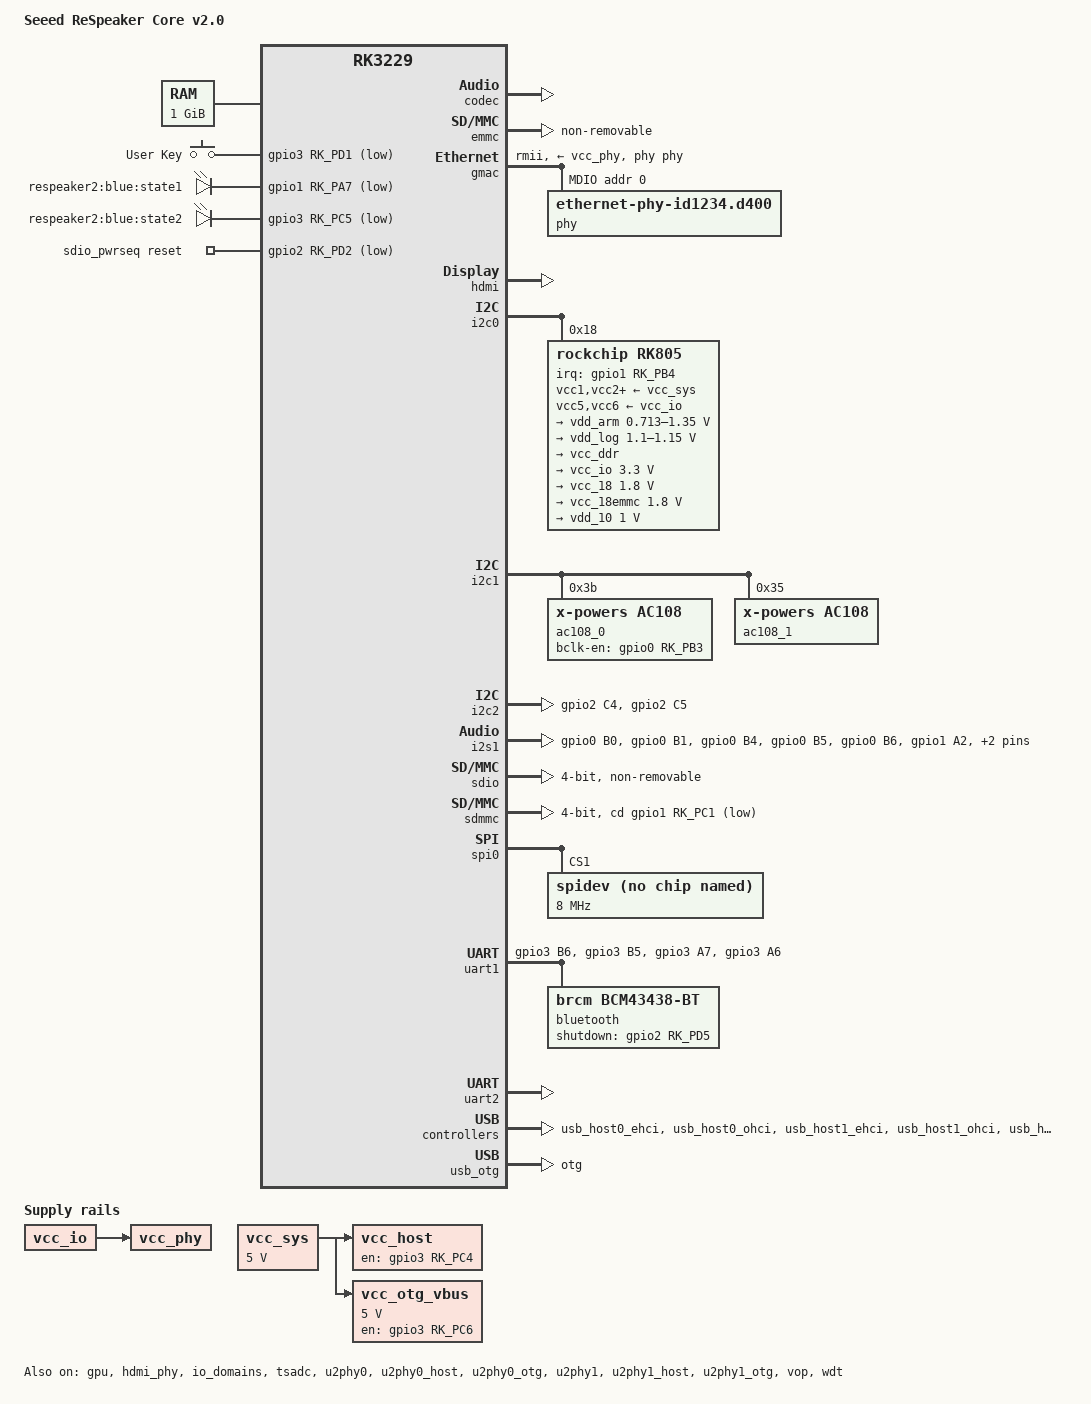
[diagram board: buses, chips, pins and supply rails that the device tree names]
// SPDX-License-Identifier: (GPL-2.0+ OR MIT)
/*
 * Seeed ReSpeaker Core v2.0
 *
 * Rewritten for mainline from the vendor (Rockchip 4.4 kernel) device tree.
 * Used by both U-Boot and Linux.
 */

/dts-v1/;

#include <dt-bindings/gpio/gpio.h>
#include <dt-bindings/input/input.h>
#include <dt-bindings/interrupt-controller/irq.h>
#include <dt-bindings/pinctrl/rockchip.h>
#include "rk3229.dtsi"

/* Added to the clock bindings by the RK3228 codec kernel patch */
#ifndef PCLK_ACODECPHY
#define PCLK_ACODECPHY		368
#endif

/ {
	model = "Seeed ReSpeaker Core v2.0";
	compatible = "seeed,respeaker-core-v2", "rockchip,rk3229";

	aliases {
		/* fixed numbering: eMMC is always mmcblk0, the SD card mmcblk1 */
		mmc0 = &emmc;
		mmc1 = &sdmmc;
		mmc2 = &sdio;
		ethernet0 = &gmac;
		/* fixed bus numbers; the HDMI DDC bus gets the next free one */
		i2c0 = &i2c0;	/* PMIC */
		i2c1 = &i2c1;	/* AC108s */
		i2c2 = &i2c2;	/* Grove port: /dev/i2c-2 */
	};

	chosen {
		stdout-path = "serial2:115200n8";
	};

	memory@60000000 {
		device_type = "memory";
		reg = <0x60000000 0x40000000>;
	};

	reserved-memory {
		#address-cells = <1>;
		#size-cells = <1>;
		ranges;

		/*
		 * Secure world: OP-TEE uses 0x68400000-0x686fffff; the factory
		 * Rockchip TEE (when booted by the original eMMC loader) up to
		 * 0x691fffff.
		 */
		tee@68400000 {
			reg = <0x68400000 0xe00000>;
			no-map;
		};
	};

	/* Internal codec: stereo DAC for the headphone jack and speaker */
	codec: codec@12010000 {
		compatible = "rockchip,rk3228-codec";
		reg = <0x12010000 0x1000>;
		clocks = <&cru SCLK_I2S_OUT>, <&cru PCLK_ACODECPHY>, <&cru SCLK_I2S1>;
		clock-names = "mclk", "pclk", "sclk";
		#sound-dai-cells = <0>;
		spk-en-gpios = <&gpio1 RK_PA3 GPIO_ACTIVE_HIGH>;
	};

	gpio-keys {
		compatible = "gpio-keys";
		pinctrl-names = "default";
		pinctrl-0 = <&user_key>;

		key-user {
			label = "User Key";
			gpios = <&gpio3 RK_PD1 GPIO_ACTIVE_LOW>;
			linux,code = <BTN_0>;
			debounce-interval = <100>;
			wakeup-source;
		};
	};

	leds {
		compatible = "gpio-leds";
		pinctrl-names = "default";
		pinctrl-0 = <&led_pins>;

		led-0 {
			label = "respeaker2:blue:state1";
			gpios = <&gpio1 RK_PA7 GPIO_ACTIVE_LOW>;
			linux,default-trigger = "heartbeat";
		};

		led-1 {
			label = "respeaker2:blue:state2";
			gpios = <&gpio3 RK_PC5 GPIO_ACTIVE_LOW>;
			linux,default-trigger = "mmc0";
		};
	};

	/*
	 * Same layout as the vendor image, card id "seeed8micvoicec":
	 *   hw:0,0  capture, 8 channels: 6 microphones + 2 playback loopback
	 *   hw:0,1  playback, stereo, headphone jack and speaker
	 * Both links share I2S1, so both directions run at the same rate.
	 */
	sound {
		compatible = "simple-audio-card";
		simple-audio-card,name = "seeed-8mic-voicecard";
		simple-audio-card,mclk-fs = <256>;
		#address-cells = <1>;
		#size-cells = <0>;

		simple-audio-card,dai-link@0 {
			reg = <0>;
			format = "i2s";
			capture-only;

			cpu {
				sound-dai = <&i2s1>;
			};

			/* ac108_0 also drives ac108_1, see below */
			codec {
				sound-dai = <&ac108_0>;
			};
		};

		simple-audio-card,dai-link@1 {
			reg = <1>;
			format = "i2s";
			playback-only;

			cpu {
				sound-dai = <&i2s1>;
			};

			codec {
				sound-dai = <&codec>;
			};
		};
	};

	sdio_pwrseq: sdio-pwrseq {
		compatible = "mmc-pwrseq-simple";
		clocks = <&rk805 1>;
		clock-names = "ext_clock";
		pinctrl-names = "default";
		pinctrl-0 = <&wifi_enable_h>;
		reset-gpios = <&gpio2 RK_PD2 GPIO_ACTIVE_LOW>;
	};

	vcc_sys: regulator-vcc-sys {
		compatible = "regulator-fixed";
		regulator-name = "vcc_sys";
		regulator-always-on;
		regulator-boot-on;
		regulator-min-microvolt = <5000000>;
		regulator-max-microvolt = <5000000>;
	};

	vcc_host: regulator-vcc-host {
		compatible = "regulator-fixed";
		regulator-name = "vcc_host";
		enable-active-high;
		gpio = <&gpio3 RK_PC4 GPIO_ACTIVE_HIGH>;
		pinctrl-names = "default";
		pinctrl-0 = <&host_vbus_drv>;
		regulator-always-on;
		regulator-boot-on;
		vin-supply = <&vcc_sys>;
	};

	vcc_otg_vbus: regulator-vcc-otg-vbus {
		compatible = "regulator-fixed";
		regulator-name = "vcc_otg_vbus";
		enable-active-high;
		gpio = <&gpio3 RK_PC6 GPIO_ACTIVE_HIGH>;
		pinctrl-names = "default";
		pinctrl-0 = <&otg_vbus_drv>;
		regulator-min-microvolt = <5000000>;
		regulator-max-microvolt = <5000000>;
		vin-supply = <&vcc_sys>;
	};

	vcc_phy: regulator-vcc-phy {
		compatible = "regulator-fixed";
		regulator-name = "vcc_phy";
		regulator-always-on;
		regulator-boot-on;
		vin-supply = <&vcc_io>;
	};
};

/*
 * rk3229.dtsi goes up to 1.464 GHz at 1.40 V. The vendor firmware never
 * exceeds 1.35 V and Armbian stops at 1.2 GHz on RK322x; the higher points
 * cause random crashes, so they are removed.
 */
&cpu0_opp_table {
	/delete-node/ opp-1296000000;
	/delete-node/ opp-1392000000;
	/delete-node/ opp-1464000000;
};

/*
 * With the 3 highest points removed, cpufreq has 5 cooling states (0-4).
 * rk322x.dtsi limits the 70 C trip to state 6 (600 MHz in its 8-point
 * table), which no longer exists and fails the binding; 600 MHz is state 3.
 */
&cpu_thermal {
	cooling-maps {
		map0 {
			cooling-device =
				<&cpu0 THERMAL_NO_LIMIT 3>,
				<&cpu1 THERMAL_NO_LIMIT 3>,
				<&cpu2 THERMAL_NO_LIMIT 3>,
				<&cpu3 THERMAL_NO_LIMIT 3>;
		};
	};
};

&cpu0 {
	cpu-supply = <&vdd_arm>;
};

&cpu1 {
	cpu-supply = <&vdd_arm>;
};

&cpu2 {
	cpu-supply = <&vdd_arm>;
};

&cpu3 {
	cpu-supply = <&vdd_arm>;
};

&emmc {
	cap-mmc-highspeed;
	non-removable;
	disable-wp;
	status = "okay";
};

&gmac {
	assigned-clocks = <&cru SCLK_MAC_SRC>;
	assigned-clock-rates = <50000000>;
	clock_in_out = "output";
	phy-handle = <&phy>;
	phy-mode = "rmii";
	phy-supply = <&vcc_phy>;
	status = "okay";

	mdio {
		compatible = "snps,dwmac-mdio";
		#address-cells = <1>;
		#size-cells = <0>;

		phy: ethernet-phy@0 {
			compatible = "ethernet-phy-id1234.d400",
				     "ethernet-phy-ieee802.3-c22";
			reg = <0>;
			clocks = <&cru SCLK_MAC_PHY>;
			phy-is-integrated;
			resets = <&cru SRST_MACPHY>;
		};
	};
};

&gpu {
	mali-supply = <&vdd_log>;
	status = "okay";
};

/*
 * The HDMI controller (with its HDCP engine) sits behind the VIO bus
 * (pclk_hdmi_ctrl comes from hclk_vio_pre, the VIO domain holds the HDCP
 * clocks), but rk322x.dtsi doesn't say so. Linux then idles VIO at boot
 * and the first HDMI register read stalls the bus forever. RK3288 has the
 * same layout and its HDMI node is in PD_VIO.
 */
&hdmi {
	power-domains = <&power RK3228_PD_VIO>;
	status = "okay";
};

&hdmi_phy {
	status = "okay";
};

&i2c0 {
	status = "okay";

	rk805: pmic@18 {
		compatible = "rockchip,rk805";
		reg = <0x18>;
		interrupt-parent = <&gpio1>;
		interrupts = <RK_PB4 IRQ_TYPE_LEVEL_LOW>;
		pinctrl-names = "default";
		pinctrl-0 = <&pmic_int_l>;
		#clock-cells = <1>;
		clock-output-names = "xin32k", "rk805-clkout2";
		system-power-controller;
		wakeup-source;

		vcc1-supply = <&vcc_sys>;
		vcc2-supply = <&vcc_sys>;
		vcc3-supply = <&vcc_sys>;
		vcc4-supply = <&vcc_sys>;
		vcc5-supply = <&vcc_io>;
		vcc6-supply = <&vcc_io>;

		regulators {
			vdd_arm: DCDC_REG1 {
				regulator-name = "vdd_arm";
				/* forced PWM, as the vendor kernel: steadier under load steps */
				regulator-initial-mode = <1>;
				regulator-min-microvolt = <712500>;
				regulator-max-microvolt = <1350000>;
				regulator-ramp-delay = <12500>;
				regulator-always-on;
				regulator-boot-on;
				regulator-state-mem {
					regulator-on-in-suspend;
					regulator-suspend-microvolt = <950000>;
				};
			};

			/*
			 * Also supplies the DRAM controller: the vendor runs
			 * DDR3 at 600 MHz with at least 1.10 V here.
			 */
			vdd_log: DCDC_REG2 {
				regulator-name = "vdd_log";
				/* forced PWM, as the vendor kernel: steadier under load steps */
				regulator-initial-mode = <1>;
				regulator-min-microvolt = <1100000>;
				regulator-max-microvolt = <1150000>;
				regulator-ramp-delay = <12500>;
				regulator-always-on;
				regulator-boot-on;
				regulator-state-mem {
					regulator-on-in-suspend;
					regulator-suspend-microvolt = <1000000>;
				};
			};

			vcc_ddr: DCDC_REG3 {
				regulator-name = "vcc_ddr";
				regulator-always-on;
				regulator-boot-on;
				regulator-state-mem {
					regulator-on-in-suspend;
				};
			};

			vcc_io: DCDC_REG4 {
				regulator-name = "vcc_io";
				regulator-min-microvolt = <3300000>;
				regulator-max-microvolt = <3300000>;
				regulator-always-on;
				regulator-boot-on;
				regulator-state-mem {
					regulator-on-in-suspend;
					regulator-suspend-microvolt = <3300000>;
				};
			};

			vcc_18: LDO_REG1 {
				regulator-name = "vcc_18";
				regulator-min-microvolt = <1800000>;
				regulator-max-microvolt = <1800000>;
				regulator-always-on;
				regulator-boot-on;
				regulator-state-mem {
					regulator-on-in-suspend;
					regulator-suspend-microvolt = <1800000>;
				};
			};

			vcc_18emmc: LDO_REG2 {
				regulator-name = "vcc_18emmc";
				regulator-min-microvolt = <1800000>;
				regulator-max-microvolt = <1800000>;
				regulator-always-on;
				regulator-boot-on;
				regulator-state-mem {
					regulator-on-in-suspend;
					regulator-suspend-microvolt = <1800000>;
				};
			};

			vdd_10: LDO_REG3 {
				regulator-name = "vdd_10";
				regulator-min-microvolt = <1000000>;
				regulator-max-microvolt = <1000000>;
				regulator-always-on;
				regulator-boot-on;
				regulator-state-mem {
					regulator-on-in-suspend;
					regulator-suspend-microvolt = <1000000>;
				};
			};
		};
	};
};

/*
 * Two AC108 quad ADCs. Each sends two stereo I2S lanes, received on
 * I2S1 SDI0-SDI3: 8 channels. simple-audio-card has one codec per link, so
 * ac108_0 is the codec and drives ac108_1 too (x-powers,secondary-chips).
 */
&i2c1 {
	status = "okay";

	ac108_0: audio-codec@3b {
		compatible = "x-powers,ac108";
		reg = <0x3b>;
		#sound-dai-cells = <0>;
		/* Gates BCLK to the ADCs, raised while capturing */
		bclk-en-gpios = <&gpio0 RK_PB3 GPIO_ACTIVE_HIGH>;
		x-powers,secondary-chips = <&ac108_1>;
	};

	ac108_1: audio-codec@35 {
		compatible = "x-powers,ac108";
		reg = <0x35>;
		x-powers,channel-base = <4>;
	};
};

/*
 * Grove connector (GPIO2_C4/C5). The board has no pull-ups on it (Grove
 * modules bring their own): enable the SoC's weak internal ones, so that the
 * bus idles high with nothing plugged in.
 */
&i2c2 {
	pinctrl-names = "default";
	pinctrl-0 = <&i2c2_xfer_pull_up>;
	status = "okay";
};

&i2s1 {
	#sound-dai-cells = <0>;
	/* GPIO0_B3 (LRCK_RX in the default group) is the AC108 BCLK gate here */
	pinctrl-names = "default";
	pinctrl-0 = <&i2s1_bus_respeaker>;
	rockchip,playback-channels = <2>;
	rockchip,capture-channels = <8>;
	status = "okay";
};

&io_domains {
	vccio1-supply = <&vcc_io>;
	vccio2-supply = <&vcc_io>;
	vccio4-supply = <&vcc_io>;
	status = "okay";
};

&iep_mmu {
	status = "okay";
};

&gpio2 {
	/* Power switch of the 12 RGB LEDs, active low */
	gpio-line-names = "", "", "LED_PWR_N";
};

&pinctrl {
	bt {
		uart11_xfer: uart11-xfer {
			rockchip,pins = <3 RK_PB6 1 &pcfg_pull_up>,
					<3 RK_PB5 1 &pcfg_pull_none>;
		};

		uart11_cts: uart11-cts {
			rockchip,pins = <3 RK_PA7 1 &pcfg_pull_none>;
		};

		uart11_rts: uart11-rts {
			rockchip,pins = <3 RK_PA6 1 &pcfg_pull_none>;
		};
	};

	i2c2 {
		i2c2_xfer_pull_up: i2c2-xfer-pull-up {
			rockchip,pins = <2 RK_PC4 1 &pcfg_pull_up>,
					<2 RK_PC5 1 &pcfg_pull_up>;
		};
	};

	i2s1 {
		i2s1_bus_respeaker: i2s1-bus-respeaker {
			rockchip,pins = <0 RK_PB0 1 &pcfg_pull_none>,
					<0 RK_PB1 1 &pcfg_pull_none>,
					<0 RK_PB4 1 &pcfg_pull_none>,
					<0 RK_PB5 1 &pcfg_pull_none>,
					<0 RK_PB6 1 &pcfg_pull_none>,
					<1 RK_PA2 2 &pcfg_pull_none>,
					<1 RK_PA4 2 &pcfg_pull_none>,
					<1 RK_PA5 2 &pcfg_pull_none>;
		};
	};

	keys {
		user_key: user-key {
			rockchip,pins = <3 RK_PD1 RK_FUNC_GPIO &pcfg_pull_up>;
		};
	};

	leds {
		led_pins: led-pins {
			rockchip,pins = <1 RK_PA7 RK_FUNC_GPIO &pcfg_pull_none>,
					<3 RK_PC5 RK_FUNC_GPIO &pcfg_pull_none>;
		};
	};

	pmic {
		pmic_int_l: pmic-int-l {
			rockchip,pins = <1 RK_PB4 RK_FUNC_GPIO &pcfg_pull_up>;
		};
	};

	sdio-pwrseq {
		wifi_enable_h: wifi-enable-h {
			rockchip,pins = <2 RK_PD2 RK_FUNC_GPIO &pcfg_pull_none>;
		};
	};

	usb {
		host_vbus_drv: host-vbus-drv {
			rockchip,pins = <3 RK_PC4 RK_FUNC_GPIO &pcfg_pull_none>;
		};

		otg_vbus_drv: otg-vbus-drv {
			rockchip,pins = <3 RK_PC6 RK_FUNC_GPIO &pcfg_pull_none>;
		};
	};
};

&sdio {
	bus-width = <4>;
	cap-sd-highspeed;
	cap-sdio-irq;
	keep-power-in-suspend;
	max-frequency = <50000000>;
	mmc-pwrseq = <&sdio_pwrseq>;
	no-mmc;
	no-sd;
	non-removable;
	status = "okay";
};

&sdmmc {
	bus-width = <4>;
	cap-sd-highspeed;
	cd-gpios = <&gpio1 RK_PC1 GPIO_ACTIVE_LOW>;
	disable-wp;
	max-frequency = <50000000>;
	status = "okay";
};

/*
 * The 12 APA102 RGB LEDs, on chip select 1: /dev/spidev0.1. SPI0 uses its
 * alternate ("spi1") pin set; CS0 is not muxed as its pin (GPIO2_A2) is the
 * LED power switch.
 */
&spi0 {
	num-cs = <2>;
	pinctrl-names = "default";
	pinctrl-0 = <&spi1_clk &spi1_tx &spi1_rx &spi1_cs1>;
	status = "okay";

	spidev@1 {
		compatible = "rohm,dh2228fv";
		reg = <1>;
		spi-max-frequency = <8000000>;
	};
};

&tsadc {
	rockchip,hw-tshut-mode = <0>;
	status = "okay";
};

&u2phy0 {
	status = "okay";
};

&u2phy0_host {
	phy-supply = <&vcc_host>;
	status = "okay";
};

/*
 * The OTG port is used as a device (gadget) by default, so its VBUS switch
 * (vcc_otg_vbus) is left off.
 */
&u2phy0_otg {
	status = "okay";
};

&u2phy1 {
	status = "okay";
};

&u2phy1_host {
	phy-supply = <&vcc_host>;
	status = "okay";
};

&u2phy1_otg {
	phy-supply = <&vcc_host>;
	status = "okay";
};

/*
 * UART0 stays disabled: its pins (GPIO2_D2/D3) include WL_REG_ON, the
 * Wi-Fi power enable used by sdio_pwrseq.
 */

/* AP6212 Bluetooth */
&uart1 {
	pinctrl-names = "default";
	pinctrl-0 = <&uart11_xfer &uart11_cts &uart11_rts>;
	uart-has-rtscts;
	status = "okay";

	/*
	 * No device-wakeup/host-wakeup GPIOs (GPIO3_D3/GPIO3_D2): with them the
	 * driver lets the chip sleep, which the vendor image never did, and it
	 * stops answering after its firmware patch is loaded.
	 */
	bluetooth {
		compatible = "brcm,bcm43438-bt";
		clocks = <&rk805 1>;
		clock-names = "lpo";
		shutdown-gpios = <&gpio2 RK_PD5 GPIO_ACTIVE_HIGH>;
		max-speed = <1500000>;
	};
};

/* Debug console */
&uart2 {
	pinctrl-names = "default";
	pinctrl-0 = <&uart21_xfer>;
	status = "okay";
};

/*
 * Reset lines of the USB controllers, so the drivers reset them at probe:
 * the bootloader may leave them unusable otherwise (seen on the OTG port as
 * "dwc2_core_reset: HANG! Soft Reset timeout"). From Armbian's RK322x port.
 */
&usb_host0_ehci {
	resets = <&cru SRST_USBHOST0>;
	reset-names = "ehci";
	status = "okay";
};

&usb_host0_ohci {
	status = "okay";
};

&usb_host1_ehci {
	resets = <&cru SRST_USBHOST1>;
	reset-names = "ehci";
	status = "okay";
};

&usb_host1_ohci {
	status = "okay";
};

&usb_host2_ehci {
	resets = <&cru SRST_USBHOST2>;
	reset-names = "ehci";
	status = "okay";
};

&usb_host2_ohci {
	status = "okay";
};

&usb_otg {
	dr_mode = "otg";
	resets = <&cru SRST_USBOTG>;
	reset-names = "dwc2";
	status = "okay";
};

&vop {
	/* Pixel clock from the HDMI PHY, as on the other RK322x boards */
	assigned-clocks = <&cru DCLK_VOP>;
	assigned-clock-parents = <&cru SCLK_HDMI_PHY>;
	status = "okay";
};

&vop_mmu {
	status = "okay";
};

&wdt {
	status = "okay";
};
